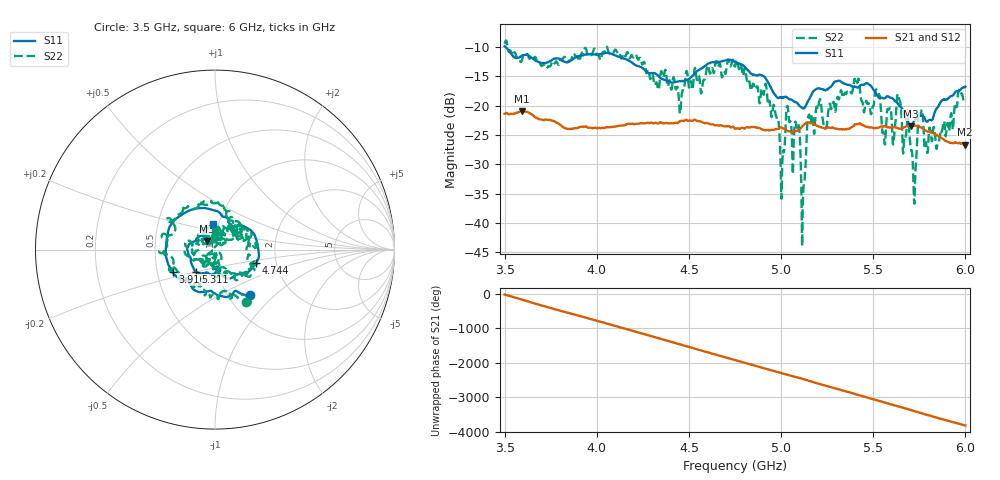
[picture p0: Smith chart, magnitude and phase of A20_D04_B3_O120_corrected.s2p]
! Created with skrf 1.9.0 (http://scikit-rf.org).
# Hz S RI R 50.0
!freq ReS11 ImS11 ReS21 ImS21 ReS12 ImS12 ReS22 ImS22
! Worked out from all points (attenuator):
!   1601 points, 3.5 GHz to 6 GHz, reference 50 ohm
!   highest |S21| = -20.96 dB at 3.592 GHz (marker M1); lowest = -26.6 dB at 5.995 GHz (marker M2)
!   lowest |S11| = -23.5 dB at 5.705 GHz (marker M3), VSWR 1.14, Z = 45.4 + j4.4 ohm
!   |S11| at or under -10 dB: 3.507 GHz to end of sweep
!   |S22| runs from -44.0 to -8.9 dB; largest |S21 - S12| = 0.0011
!   S11 on the Smith chart (normalised r, x): 3.5 GHz: 1.26, -0.72; 3.916 GHz: 0.60, -0.16; 4.744 GHz: 1.56, -0.25; 5.311 GHz: 0.78, -0.20; 6 GHz: 0.94, +0.28
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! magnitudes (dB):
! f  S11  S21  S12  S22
! 3.5 GHz  -9.9  -21.4  -21.3  -9.4
! 3.592 GHz  -11.5  -21.0  -21.0  -12.4
! 3.916 GHz  -11.5  -23.6  -23.6  -11.2
! 3.917 GHz  -11.5  -23.6  -23.6  -11.0
! 4.334 GHz  -14.9  -23.0  -22.9  -17.3
! 4.744 GHz  -12.4  -23.7  -23.6  -12.7
! 4.75 GHz  -12.6  -23.9  -23.8  -13.3
! 4.922 GHz  -15.6  -24.1  -24.1  -17.3
! 5.006 GHz  -18.6  -23.8  -23.7  -30.1
! 5.036 GHz  -18.7  -24.3  -24.2  -20.2
! 5.088 GHz  -19.6  -24.2  -24.2  -23.6
! 5.12 GHz  -20.4  -23.4  -23.3  -34.7
! 5.167 GHz  -17.9  -23.0  -22.9  -21.5
! 5.311 GHz  -15.7  -24.0  -23.9  -18.8
! 5.584 GHz  -18.5  -23.7  -23.6  -20.6
! 5.639 GHz  -19.9  -23.9  -23.8  -18.4
! 5.705 GHz  -23.5  -23.5  -23.4  -27.4
! 5.723 GHz  -22.5  -23.4  -23.3  -36.7
! 5.756 GHz  -21.7  -23.7  -23.6  -21.6
! 5.848 GHz  -20.3  -25.1  -25.0  -26.6
! 5.995 GHz  -16.8  -26.6  -26.5  -19.5
! 6 GHz  -16.7  -26.6  -26.5  -19.5
